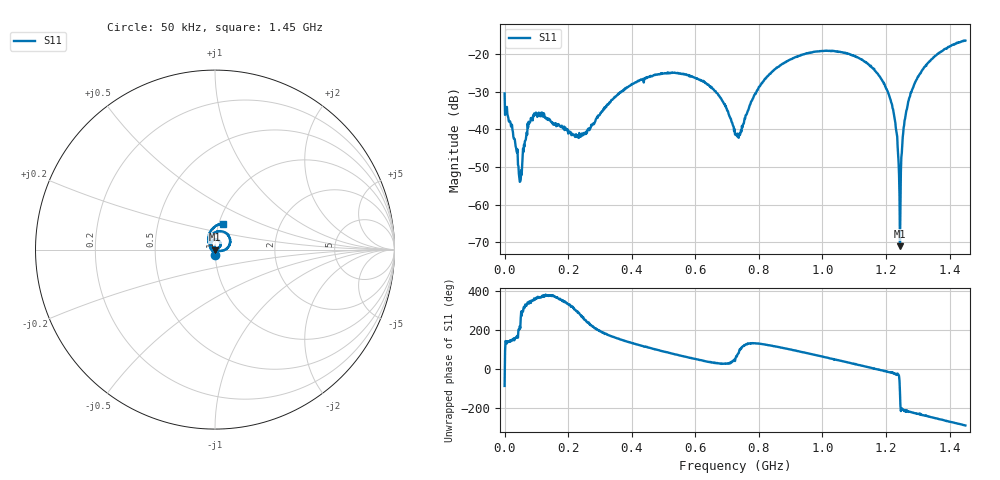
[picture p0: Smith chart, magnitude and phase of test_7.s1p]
! Created with skrf 1.11.0 (http://scikit-rf.org).
# Hz S RI R 50.0
!freq ReS11 ImS11
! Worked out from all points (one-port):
!   1001 points, 50 kHz to 1.45 GHz, reference 50 ohm
!   lowest |S11| = -71.1 dB at 1.244 GHz (marker M1), VSWR 1.00, Z = 50 - j0.0249 ohm
!   |S11| at or under -10 dB: start of sweep to end of sweep
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50000  0.00209 -0.0299
4.93483e7  -0.00178 -0.000977
7.109755e7  0.00774 -0.00352
9.28468e7  0.0162 0.000441
1.812938e8  0.0105 -0.00125
2.523413e8  -0.00258 -0.00842
3.625375e8  -0.0274 0.0142
5.437812e8  0.016 0.0538
6.568774e8  0.0282 0.0191
6.94576e8  0.0176 0.00983
7.25025e8  0.00643 0.00565
7.424244e8  -0.00192 0.00875
7.786732e8  -0.0163 0.0179
8.149219e8  -0.0263 0.0348
9.062688e8  -0.0125 0.0868
1.087512e9  0.0835 0.0521
1.15856e9  0.0648 0.00471
1.202059e9  0.0335 -0.00791
1.228158e9  0.0123 -0.00529
1.233957e9  0.00749 -0.0043
1.238307e9  0.00405 -0.00206
1.244107e9  -0.000127 -0.000249
1.249907e9  -0.00422 0.00237
1.257157e9  -0.0093 0.00634
1.268756e9  -0.0171 0.0129
1.294855e9  -0.0303 0.033
1.335454e9  -0.0365 0.0692
1.45e9  0.0468 0.1437
